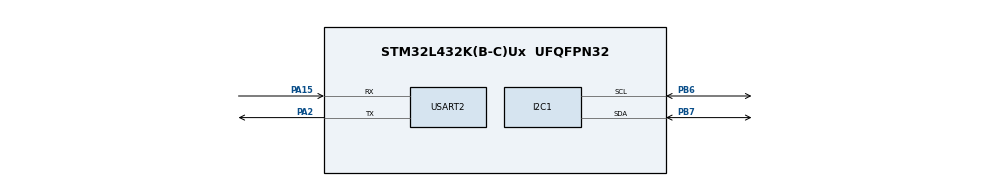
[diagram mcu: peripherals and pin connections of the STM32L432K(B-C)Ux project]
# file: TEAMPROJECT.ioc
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Mcu.Family=STM32L4
Mcu.Name=STM32L432K(B-C)Ux
Mcu.Package=UFQFPN32
NVIC.PriorityGroup=NVIC_PRIORITYGROUP_4
NVIC.TIM6_DAC_IRQn=true\:15\:0\:false\:false\:true\:false\:true\:true
NVIC.TimeBase=TIM6_DAC_IRQn
NVIC.TimeBaseIP=TIM6
NVIC.USART2_IRQn=true\:0\:0\:false\:false\:true\:true\:true\:true
PA15\ (JTDI).Mode=Asynchronous
PA15\ (JTDI).Signal=USART2_RX
PA2.Mode=Asynchronous
PA2.Signal=USART2_TX
PB6.Mode=I2C
PB6.Signal=I2C1_SCL
PB7.Mode=I2C
PB7.Signal=I2C1_SDA
ProjectManager.HeapSize=0x200
ProjectManager.StackSize=0x400
ProjectManager.TargetToolchain=STM32CubeIDE
RCC.HSE_VALUE=8000000
RCC.HSI48_VALUE=48000000
RCC.HSI_VALUE=16000000
RCC.LSE_VALUE=32768
RCC.MSI_VALUE=4000000
RCC.VCOOutputFreq_Value=32000000
TIM7.Period=65536 - 1
TIM7.Prescaler=8000 - 1
USART2.VirtualMode-Asynchronous=VM_ASYNC
VP_SYS_VS_tim6.Mode=TIM6
VP_TIM7_VS_ClockSourceINT.Mode=Enable_Timer
board=custom

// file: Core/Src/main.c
/* USER CODE BEGIN Header */
/**
 ******************************************************************************
 * @file           : main.c
 * @brief          : Main program body
 * @author		    : Stefan Bittgen, ic20b058
 *
 ******************************************************************************
 * @attention
 *
 * <h2><center>&copy; Copyright (c) 2021 STMicroelectronics.
 * All rights reserved.</center></h2>
 *
 * This software component is licensed by ST under BSD 3-Clause license,
 * the "License"; You may not use this file except in compliance with the
 * License. You may obtain a copy of the License at:
 *                        opensource.org/licenses/BSD-3-Clause
 *
 * Baudrate/Speed: 115200
 *
 **##Function Finger Print:
 *  When I put my finger on the sensor, the value increases and when I remove my finger from
 *  the sensor, the finger is not read again. The proper functionality is shown in my video.
 *
 ** One command is possible.
 *
 *
 **##Command -> #t,tempa\n
 * It generates some initialization messages from an existing temperature sensor and returns the correct temperature.
 *
 * Example:
 * PC -> STM32
 * command:#t,tempa\n -> # command: t (get the temperatur value from my sensor)
 *						  # data: a realistic temperatur value
 *
 *	STM32 -> PC
 *	STM32: ACK\n		  # positive acknowledge of receipt
 *	**** Temperature values measurement ****
 *	===> Initialize Temperature Sensor MAX30101
 *	=====> Temperature Sensor MAX30101 initialized
 *
 *	data:#a,24\n	      # send an answer: a,24\n
 *	PC: ACK\n
 *
 *
 ******************************************************************************
 */
/* USER CODE END Header */
#include "main.h"

/* USER CODE BEGIN Includes */
#include "h4lib.h"
#include <stdio.h>
/* USER CODE END Includes */

/* USER CODE BEGIN PD */
#define BUFFERSIZE 10
#define RATE_SIZE 4							//Increase this for more averaging. 4 is good.

/* USER CODE END PD */

I2C_HandleTypeDef hi2c1;

TIM_HandleTypeDef htim7;

UART_HandleTypeDef huart2;

/* USER CODE BEGIN PV */
unsigned int tim_elapsed = 0; // Basically our global clock/counter; counts upwards in 50ms steps

/* USER CODE END PV */

void SystemClock_Config(void);
static void MX_GPIO_Init(void);
static void MX_I2C1_Init(void);
static void MX_USART2_UART_Init(void);
static void MX_TIM7_Init(void);

/* USER CODE BEGIN 0 */
uint8_t ringBuffer[BUFFERSIZE]; // I receive my input from the ISR purely
char *welcome = "\n\radmin@work:~$: ";
bool read_f = false;
bool stop_f = false;
bool start_f = false;
bool no_finger_f = true;
//static uint32_t miliseconds_counter = 0; TODO: Would be used for millisecond counting
uint32_t red_sample;

//uint8_t RATE_SIZE = 4; 			 //Increase this for more averaging. 4 is good.
uint32_t rates[RATE_SIZE]; 				 //Array of heart rates
uint32_t rateSpot = 0;
long lastBeat = 0; 					    //Time at which the last beat occurred
uint16_t delta = 0;
float beatsPerMinute;
uint32_t beatAvg;
uint16_t timer_val;

// Print given character on UART 2. Translate '\n' to "\r\n" on the fly.
int __io_putchar(int ch) {
	int ret;
	while ((ret = HAL_UART_GetState(&huart2)) != HAL_UART_STATE_READY)
		;
	if (ch == '\n') {
		static uint8_t buf[2] = {'\r', '\n'};
		HAL_UART_Transmit_IT(&huart2, buf, sizeof(buf));
	} else {
		static char buf;
		buf = ch;
		HAL_UART_Transmit_IT(&huart2, (uint8_t *)&buf, 1);
	}
	return ch;
}

// So we do not use the printf on the stdio but bend it to UART */
int _write(int file, char *ptr, int len)
{
	for (int DataIdx = 0; DataIdx < len; DataIdx++) {
		__io_putchar(*ptr++);
	}
	return len;
}

/* USER CODE END 0 */

int main(void)
{
	/* USER CODE BEGIN 1 */
	uint16_t timer_val;

	/* USER CODE END 1 */

	/* MCU Configuration--------------------------------------------------------*/

	/* Reset of all peripherals, Initializes the Flash interface and the Systick. */
	HAL_Init();

	/* Configure the system clock */
	SystemClock_Config();

	/* Initialize all configured peripherals */
	MX_GPIO_Init();
	MX_I2C1_Init();
	MX_USART2_UART_Init();
	MX_TIM7_Init();
	/* USER CODE BEGIN 2 */

	hr4_set_registers(hi2c1);

	/*	// Start timer
	HAL_TIM_Base_Start(&htim7);

	// Get current time
	timer_val = __HAL_TIM_GET_COUNTER(&htim7);*/

	/* USER CODE END 2 */

	/* Infinite loop */
	/* USER CODE BEGIN WHILE */
	/*	if (HAL_UART_Transmit(&huart2, (uint8_t *)welcome, strlen(welcome), 1000) == HAL_ERROR) {

		Error_Handler();
	}*/

	//startAgain:

	while (1) {

		// If enough time has passed (1 second), toggle LED and get new timestamp
		// Vllt einfach 30 Sekunden lang zählen wie oft ein heartbeat gemessen wird, wir würden eh nur 4x brauchen
		/*
		if (__HAL_TIM_GET_COUNTER(&htim7) - timer_val >= 10000)
		{
			printf("JUHU 1 Second elapsed");
			// Get time elapsed
			timer_val =  __HAL_TIM_GET_COUNTER(&htim7);

		}
		 */

		//hr4_is_new_fifo_data_ready(hi2c1); // 1 returns

		//TODO:	if( read_f) -> If an interrupt is set, it would be better to check the interrupt pin

		//Fifo is ready
		if(hr4_is_new_fifo_data_ready(hi2c1) != 0)
		{
			read_f = false;

			// First start
			//			if ( !start_f )
			//			{
			//				start_f = true;
			//Start timer
			//			HAL_TIM_Base_Start(&htim7);
			//TODO: Here actually the timer would be started as well as the interrupt, unfortunately not implementable for time reasons any more.
			//		            InitTimer2();                    // Initializing Timer 2
			//		            EnableInterrupts();              // Enables the processor interrupt
			//		            LOG("START\r\n");                // Sending START command to uPlot
			//			}

			// Read RED sensor data
			// Sensor misst eigentlich nur ob gerade ein Puls aufgetreten ist
			// Wenn nicht ist Puls Wert im unteren Bereich
			// Wenn Puls erkannt wird ist der Wert immer > 200.000
			// TODO: Man könnte sich noch anschauen wie viel Zeit ist zwischen den Pulsmessungen immmer vergangen, Offset erzeugen,
			// einmal ist Puls oben, einmal unten wie bei EKG
			// Puls ergibt aus Hoch und Niedrig und dem Zeitverhalten und dafür benötigen wir eine Feststellung wann ein Puls festgestellt
			// worden ist und wann nicht.
			red_sample = hr4_read_red(hi2c1);

			// If sample pulse amplitude is under threshold value ( proximity mode )
			if ( red_sample > 0 && red_sample < 32000 )
			{
				stop_f = true;

				if ( no_finger_f )
				{
					// TODO: What can we do if no finger is detected?
					// We do nothing more in this program due to time constraints here.
					char *noFinger ="\r\nNo finger is detected ~.~\r\n";

					if (HAL_UART_Transmit(&huart2, (uint8_t *) noFinger, strlen(noFinger), 1000) == HAL_ERROR)
					{
						Error_Handler();
					}

				}

				no_finger_f = true;
			}

			// If finger is detected ( we are in active heart rate mode )
			else if( red_sample != 0)
			{
				stop_f = false;

				if ( no_finger_f )
				{
					// TODO: We do nothing more in this program due to time constraints here.
				}

				char *fingerPrint = "\r\nblabla";
				if (HAL_UART_Transmit(&huart2, (uint8_t *) fingerPrint, strlen(fingerPrint), 1000) == HAL_ERROR)
					{
						Error_Handler();
					}

				char *pulseValue = "\r\nPulse value: ";
				uint8_t str_tmp[15] ="";

				// Output the value when the finger was detected
				if (HAL_UART_Transmit(&huart2, str_tmp, sprintf((char *) str_tmp, "%d\n\r", (int) red_sample), 1000) == HAL_ERROR)
				{
					Error_Handler();
				}

				bool iad = true;
				while (iad == true) {

					// Start timer
          if(HAL_TIM_Base_GetState(&htim7) == HAL_TIM_STATE_READY) {
            HAL_TIM_Base_Start_IT(&htim7);
          }

					// Get current time
					timer_val = tim_elapsed;
					//timer_val = __HAL_TIM_GET_COUNTER(&htim7);
//					timer_val = HAL_GetTick();

					// Get current time (microseconds)
					//				timer_val = __HAL_TIM_GET_COUNTER(&htim6);
					//				delta = __HAL_TIM_GET_COUNTER(&htim6) - lastBeat;					//Measure duration between two beats, ist zB beim ersten Mal 4 Sekunden

					delta = timer_val - lastBeat;					//Measure duration between two beats, ist zB beim ersten Mal 4 Sekunden

					uint8_t str_tmps[50] ="";

					// Output the value when the finger was detected
					if (HAL_UART_Transmit(&huart2, str_tmps, sprintf((char *) str_tmps, "%d %d\n\r", (int) delta, (int) timer_val), 1000) == HAL_ERROR)
					{
						Error_Handler();
					}
					HAL_Delay(500);

					//				delta = HAL_GetTick() - lastBeat;					//Measure duration between two beats, ist zB beim ersten Mal 4 Sekunden
					//				lastBeat = HAL_GetTick(); // Auch 4 Sekunden
					lastBeat = timer_val;

					beatsPerMinute = 60 / (delta / 1000.0);					//Calculating the BPM

					if (beatsPerMinute < 255 && beatsPerMinute > 20)
					{
						rates[rateSpot++] = (uint8_t)beatsPerMinute;
						rateSpot %= RATE_SIZE; //Wrap variable
						if(rates[3] != 0)
						{
							iad = false;

						}
					}

					//goto startAgain;

				}

				//Take average of readings
				beatAvg = 0;
				for (uint8_t x = 0; x < RATE_SIZE ; x++)
				{
					beatAvg += rates[x];
				}
				beatAvg /= RATE_SIZE;

				/*						// Output the value when the finger was detected
						if (HAL_UART_Transmit(&huart2, str_tmp, sprintf((char *) str_tmp, "%d\\n\r", (int) beatAvg), 1000) == HAL_ERROR)
						{
						Error_Handler();
						}*/

				//				char *pulseValue = "\r\nPulse value: ";
				//				uint8_t str_tmp[7] ="";

				// Print pulse value
				if (HAL_UART_Transmit(&huart2, (uint8_t *) pulseValue, strlen(pulseValue), 1000) == HAL_ERROR)
				{
					Error_Handler();
				}

				// Output the value when the finger was detected
				if (HAL_UART_Transmit(&huart2, str_tmp, sprintf((char *) str_tmp, "%d\\n\r", (int) beatAvg), 1000) == HAL_ERROR)
				{
					Error_Handler();
				}

				/*
				// Output the value when the finger was detected
				if (HAL_UART_Transmit(&huart2, str_tmp, sprintf((char *) str_tmp, "%d\\n\r", (int) red_sample), 1000) == HAL_ERROR)
				{
					Error_Handler();
				}
				 */

				// Start program command input again
				if (HAL_UART_Transmit(&huart2, (uint8_t *)welcome, strlen(welcome), 1000) == HAL_ERROR)
				{
					Error_Handler();
				}

				no_finger_f = false;

			}
		}

		/**
		 *
		 * "BUFFERSIZE" is my size (in our case 10) that I have to transfer.
		 * Once I have entered 10 characters, my callback steps in the function checkInput(hi2c1, huart2, ringBuffer, 10).
		 *
		 */

		// Nonblocking Function
//		if (HAL_UART_Receive_IT(&huart2, ringBuffer, BUFFERSIZE) == HAL_ERROR)
//		{
//			Error_Handler();
//		}
//
//		HAL_Delay(500);

		HAL_Delay(500);

		/* USER CODE END WHILE */

	}
}

void SystemClock_Config(void)
{
	RCC_OscInitTypeDef RCC_OscInitStruct = {0};
	RCC_ClkInitTypeDef RCC_ClkInitStruct = {0};

	/** Configure the main internal regulator output voltage
	 */
	if (HAL_PWREx_ControlVoltageScaling(PWR_REGULATOR_VOLTAGE_SCALE1) != HAL_OK)
	{
		Error_Handler();
	}

	/** Initializes the RCC Oscillators according to the specified parameters
	 * in the RCC_OscInitTypeDef structure.
	 */
	RCC_OscInitStruct.OscillatorType = RCC_OSCILLATORTYPE_MSI;
	RCC_OscInitStruct.MSIState = RCC_MSI_ON;
	RCC_OscInitStruct.MSICalibrationValue = 0;
	RCC_OscInitStruct.MSIClockRange = RCC_MSIRANGE_6;
	RCC_OscInitStruct.PLL.PLLState = RCC_PLL_NONE;
	if (HAL_RCC_OscConfig(&RCC_OscInitStruct) != HAL_OK)
	{
		Error_Handler();
	}

	/** Initializes the CPU, AHB and APB buses clocks
	 */
	RCC_ClkInitStruct.ClockType = RCC_CLOCKTYPE_HCLK|RCC_CLOCKTYPE_SYSCLK
			|RCC_CLOCKTYPE_PCLK1|RCC_CLOCKTYPE_PCLK2;
	RCC_ClkInitStruct.SYSCLKSource = RCC_SYSCLKSOURCE_MSI;
	RCC_ClkInitStruct.AHBCLKDivider = RCC_SYSCLK_DIV1;
	RCC_ClkInitStruct.APB1CLKDivider = RCC_HCLK_DIV1;
	RCC_ClkInitStruct.APB2CLKDivider = RCC_HCLK_DIV1;

	if (HAL_RCC_ClockConfig(&RCC_ClkInitStruct, FLASH_LATENCY_0) != HAL_OK)
	{
		Error_Handler();
	}
}

static void MX_I2C1_Init(void)
{

	hi2c1.Instance = I2C1;
	hi2c1.Init.Timing = 0x00000E14;
	hi2c1.Init.OwnAddress1 = 0;
	hi2c1.Init.AddressingMode = I2C_ADDRESSINGMODE_7BIT;
	hi2c1.Init.DualAddressMode = I2C_DUALADDRESS_DISABLE;
	hi2c1.Init.OwnAddress2 = 0;
	hi2c1.Init.OwnAddress2Masks = I2C_OA2_NOMASK;
	hi2c1.Init.GeneralCallMode = I2C_GENERALCALL_DISABLE;
	hi2c1.Init.NoStretchMode = I2C_NOSTRETCH_DISABLE;
	if (HAL_I2C_Init(&hi2c1) != HAL_OK)
	{
		Error_Handler();
	}

	/** Configure Analogue filter
	 */
	if (HAL_I2CEx_ConfigAnalogFilter(&hi2c1, I2C_ANALOGFILTER_ENABLE) != HAL_OK)
	{
		Error_Handler();
	}

	/** Configure Digital filter
	 */
	if (HAL_I2CEx_ConfigDigitalFilter(&hi2c1, 0) != HAL_OK)
	{
		Error_Handler();
	}

}

static void MX_TIM7_Init(void)
{

	TIM_MasterConfigTypeDef sMasterConfig = {0};

	htim7.Instance = TIM7;
	htim7.Init.Prescaler = 32000 - 1;
	htim7.Init.CounterMode = TIM_COUNTERMODE_UP;
	htim7.Init.Period = 10 - 1;
	htim7.Init.AutoReloadPreload = TIM_AUTORELOAD_PRELOAD_DISABLE;
	if (HAL_TIM_Base_Init(&htim7) != HAL_OK)
	{
		Error_Handler();
	}
	sMasterConfig.MasterOutputTrigger = TIM_TRGO_RESET;
	sMasterConfig.MasterSlaveMode = TIM_MASTERSLAVEMODE_DISABLE;
	if (HAL_TIMEx_MasterConfigSynchronization(&htim7, &sMasterConfig) != HAL_OK)
	{
		Error_Handler();
	}

}

static void MX_USART2_UART_Init(void)
{

	huart2.Instance = USART2;
	huart2.Init.BaudRate = 115200;
	huart2.Init.WordLength = UART_WORDLENGTH_8B;
	huart2.Init.StopBits = UART_STOPBITS_1;
	huart2.Init.Parity = UART_PARITY_NONE;
	huart2.Init.Mode = UART_MODE_TX_RX;
	huart2.Init.HwFlowCtl = UART_HWCONTROL_NONE;
	huart2.Init.OverSampling = UART_OVERSAMPLING_16;
	huart2.Init.OneBitSampling = UART_ONE_BIT_SAMPLE_DISABLE;
	huart2.AdvancedInit.AdvFeatureInit = UART_ADVFEATURE_NO_INIT;
	if (HAL_UART_Init(&huart2) != HAL_OK)
	{
		Error_Handler();
	}

}

static void MX_GPIO_Init(void)
{

	/* GPIO Ports Clock Enable */
	__HAL_RCC_GPIOA_CLK_ENABLE();
	__HAL_RCC_GPIOB_CLK_ENABLE();

}

/* USER CODE BEGIN 4 */
void HAL_UART_RxCpltCallback(UART_HandleTypeDef *huart)
{

	if(huart == &huart2)
	{

		checkInput(hi2c1, huart2, ringBuffer, 10);
	}

}

void HAL_TIM_PeriodElapsedCallback(TIM_HandleTypeDef *htim)
{
  // Here the magic happens with our custom clock (which just is a counter)
  // Because we have 32MHZ and use a pre-scaler of 32000 that mans our clock speed is 1ms
  // However because I set the period to 9 the interrupt fires every 10ms and the counter therefore increased in 10ms steps
  if (htim->Instance == TIM7) {
    tim_elapsed += htim->Instance -> ARR + 1; // 9 + 1 = 10 ms to add to the counter
  }
}

/* USER CODE END 4 */

void HAL_TIM_PeriodElapsedCallback(TIM_HandleTypeDef *htim)
{
	if (htim->Instance == TIM6) {
		HAL_IncTick();
	}
}

void Error_Handler(void)
{
	__disable_irq();
	while (1)
	{
	}
}
